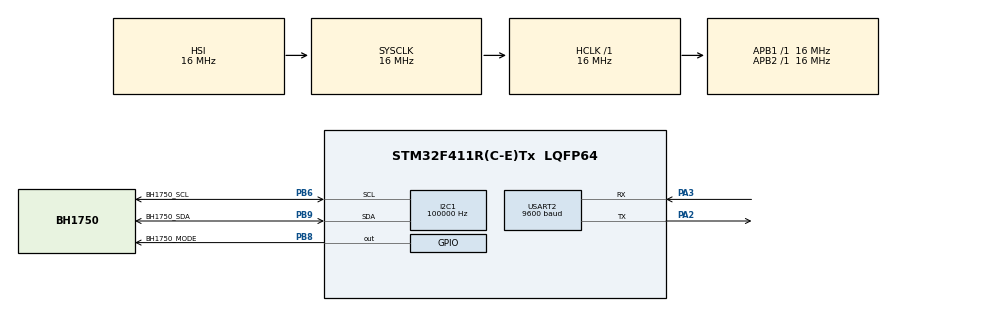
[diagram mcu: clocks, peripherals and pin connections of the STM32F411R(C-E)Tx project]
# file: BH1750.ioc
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I2C1.ClockSpeed=100000
I2C1.I2C_Mode=I2C_Standard
Mcu.Family=STM32F4
Mcu.Name=STM32F411R(C-E)Tx
Mcu.Package=LQFP64
NVIC.I2C1_ER_IRQn=true\:0\:0\:false\:false\:true\:true\:true\:true
NVIC.I2C1_EV_IRQn=true\:0\:0\:false\:false\:true\:true\:true\:true
NVIC.PriorityGroup=NVIC_PRIORITYGROUP_4
PA13.Mode=Serial_Wire
PA13.Signal=SYS_JTMS-SWDIO
PA14.Mode=Serial_Wire
PA14.Signal=SYS_JTCK-SWCLK
PA2.Mode=Asynchronous
PA2.Signal=USART2_TX
PA3.Mode=Asynchronous
PA3.Signal=USART2_RX
PB6.GPIO_Label=BH1750_SCL
PB6.GPIO_Pu=GPIO_PULLUP
PB6.Mode=I2C
PB6.Signal=I2C1_SCL
PB8.GPIO_Label=BH1750_MODE
PB8.Signal=GPIO_Output
PB9.GPIO_Label=BH1750_SDA
PB9.GPIO_Pu=GPIO_PULLUP
PB9.Mode=I2C
PB9.Signal=I2C1_SDA
ProjectManager.HeapSize=0x200
ProjectManager.StackSize=0x400
ProjectManager.TargetToolchain=STM32CubeIDE
RCC.AHBFreq_Value=16000000
RCC.APB1Freq_Value=16000000
RCC.APB2Freq_Value=16000000
RCC.CortexFreq_Value=16000000
RCC.HSE_VALUE=25000000
RCC.HSI_VALUE=16000000
RCC.LSE_VALUE=32768
RCC.SYSCLKFreq_VALUE=16000000
RCC.VCOOutputFreq_Value=192000000
USART2.BaudRate=9600
USART2.VirtualMode=VM_ASYNC
board=custom

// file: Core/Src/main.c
/* USER CODE BEGIN Header */
/**
  ******************************************************************************
  * @file           : main.c
  * @brief          : Main program body
  ******************************************************************************
  * @attention
  *
  * Copyright (c) 2024 STMicroelectronics.
  * All rights reserved.
  *
  * This software is licensed under terms that can be found in the LICENSE file
  * in the root directory of this software component.
  * If no LICENSE file comes with this software, it is provided AS-IS.
  *
  ******************************************************************************
  */
/* USER CODE END Header */
#include "main.h"
#include "i2c.h"
#include "usart.h"
#include "gpio.h"

/* USER CODE BEGIN Includes */
#include "BH1750.h"
#include "usart.h"
#include <stdio.h>
/* USER CODE END Includes */

/* USER CODE BEGIN PV */

// Buffer used to receive the two-byte light measurement from the BH1750
uint8_t buffer[2] = {0};

// Raw 16-bit sensor output
uint16_t raw = 0;

float lux = 0.0f;
char uartBuffer[64];

/* USER CODE END PV */

void SystemClock_Config(void);

int main(void)
{

  /* MCU Configuration--------------------------------------------------------*/

  /* Reset of all peripherals, Initializes the Flash interface and the Systick. */
  HAL_Init();

  /* Configure the system clock */
  SystemClock_Config();

  /* Initialize all configured peripherals */
  MX_GPIO_Init();
  MX_I2C1_Init();
  MX_USART2_UART_Init();
  /* USER CODE BEGIN 2 */

  // Setup Reading Mode as Continuous
  BH1750_ContinuousMode();

  // Power on the sensor
  BH1750_SendCommand(BH1750_POWER_ON);

  // Clear previous measurement data
  BH1750_SendCommand(BH1750_RESET);

  // Start continuous High Resolution measurement mode
  BH1750_SendCommand(BH1750_CON_H_RES_MODE);

  /* USER CODE END 2 */

  /* Infinite loop */
  /* USER CODE BEGIN WHILE */
  while (1)
  {
	  // Read two bytes from BH1750
	  BH1750_ReadData();

	  /*---------------------------------------------------------
	   * Combine MSB and LSB into one 16-bit value
	   *
	   * buffer[0] = High byte
	   * buffer[1] = Low byte
	   *--------------------------------------------------------*/
	  raw = ((uint16_t)buffer[0] << 8) | buffer[1];

	  /*---------------------------------------------------------
	   * Convert raw measurement into Lux
	   *
	   * According to BH1750 datasheet:
	   *      Lux = Raw / 1.2
	   *--------------------------------------------------------*/
	  lux = raw / 1.2f;

	  int length = sprintf(uartBuffer, "%.2f\r\n", lux);

	  HAL_UART_Transmit(&huart2, (uint8_t *)uartBuffer, length, HAL_MAX_DELAY);

	  /* Wait before requesting another measurement */
	  HAL_Delay(1000);

    /* USER CODE END WHILE */

  }
}

void SystemClock_Config(void)
{
  RCC_OscInitTypeDef RCC_OscInitStruct = {0};
  RCC_ClkInitTypeDef RCC_ClkInitStruct = {0};

  /** Configure the main internal regulator output voltage
  */
  __HAL_RCC_PWR_CLK_ENABLE();
  __HAL_PWR_VOLTAGESCALING_CONFIG(PWR_REGULATOR_VOLTAGE_SCALE1);

  /** Initializes the RCC Oscillators according to the specified parameters
  * in the RCC_OscInitTypeDef structure.
  */
  RCC_OscInitStruct.OscillatorType = RCC_OSCILLATORTYPE_HSI;
  RCC_OscInitStruct.HSIState = RCC_HSI_ON;
  RCC_OscInitStruct.HSICalibrationValue = RCC_HSICALIBRATION_DEFAULT;
  RCC_OscInitStruct.PLL.PLLState = RCC_PLL_NONE;
  if (HAL_RCC_OscConfig(&RCC_OscInitStruct) != HAL_OK)
  {
    Error_Handler();
  }

  /** Initializes the CPU, AHB and APB buses clocks
  */
  RCC_ClkInitStruct.ClockType = RCC_CLOCKTYPE_HCLK|RCC_CLOCKTYPE_SYSCLK
                              |RCC_CLOCKTYPE_PCLK1|RCC_CLOCKTYPE_PCLK2;
  RCC_ClkInitStruct.SYSCLKSource = RCC_SYSCLKSOURCE_HSI;
  RCC_ClkInitStruct.AHBCLKDivider = RCC_SYSCLK_DIV1;
  RCC_ClkInitStruct.APB1CLKDivider = RCC_HCLK_DIV1;
  RCC_ClkInitStruct.APB2CLKDivider = RCC_HCLK_DIV1;

  if (HAL_RCC_ClockConfig(&RCC_ClkInitStruct, FLASH_LATENCY_0) != HAL_OK)
  {
    Error_Handler();
  }
}

void Error_Handler(void)
{
  __disable_irq();
  while (1)
  {
  }
}
